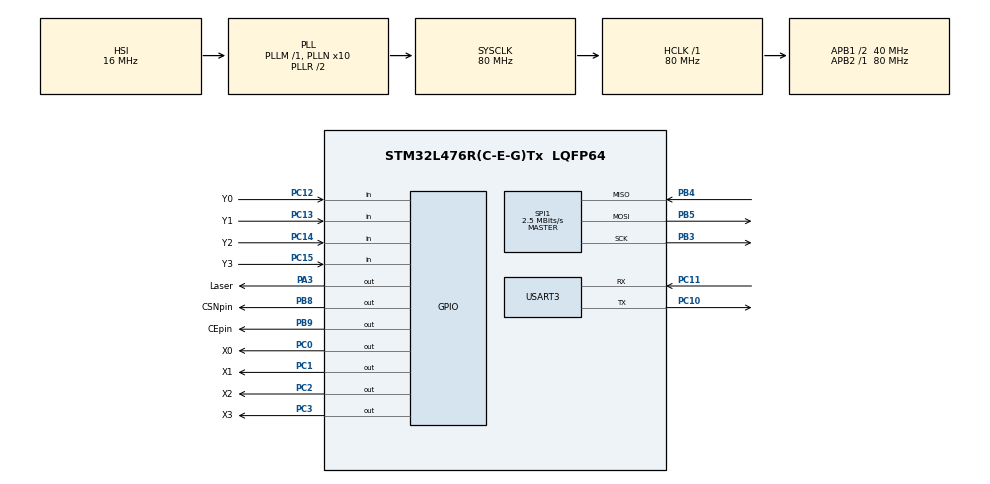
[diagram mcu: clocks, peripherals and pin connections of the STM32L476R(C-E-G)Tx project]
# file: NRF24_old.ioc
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Mcu.Family=STM32L4
Mcu.Name=STM32L476R(C-E-G)Tx
Mcu.Package=LQFP64
NVIC.PriorityGroup=NVIC_PRIORITYGROUP_4
PA3.GPIO_Label=Laser
PA3.Signal=GPIO_Output
PB3\ (JTDO-TRACESWO).Mode=Full_Duplex_Master
PB3\ (JTDO-TRACESWO).Signal=SPI1_SCK
PB4\ (NJTRST).Mode=Full_Duplex_Master
PB4\ (NJTRST).Signal=SPI1_MISO
PB5.Mode=Full_Duplex_Master
PB5.Signal=SPI1_MOSI
PB8.GPIO_Label=CSNpin
PB8.Signal=GPIO_Output
PB9.GPIO_Label=CEpin
PB9.Signal=GPIO_Output
PC0.GPIO_Label=X0
PC0.Signal=GPIO_Output
PC1.GPIO_Label=X1
PC1.Signal=GPIO_Output
PC10.Mode=Asynchronous
PC10.Signal=USART3_TX
PC11.Mode=Asynchronous
PC11.Signal=USART3_RX
PC12.GPIO_Label=Y0
PC12.Signal=GPIO_Input
PC13.GPIO_Label=Y1
PC13.Signal=GPIO_Input
PC14-OSC32_IN\ (PC14).GPIO_Label=Y2
PC14-OSC32_IN\ (PC14).Signal=GPIO_Input
PC15-OSC32_OUT\ (PC15).GPIO_Label=Y3
PC15-OSC32_OUT\ (PC15).Signal=GPIO_Input
PC2.GPIO_Label=X2
PC2.Signal=GPIO_Output
PC3.GPIO_Label=X3
PC3.Signal=GPIO_Output
ProjectManager.HeapSize=0x200
ProjectManager.StackSize=0x400
ProjectManager.TargetToolchain=SW4STM32
RCC.ADCFreq_Value=64000000
RCC.AHBFreq_Value=80000000
RCC.APB1CLKDivider=RCC_HCLK_DIV2
RCC.APB1Freq_Value=40000000
RCC.APB1TimFreq_Value=80000000
RCC.APB2Freq_Value=80000000
RCC.APB2TimFreq_Value=80000000
RCC.CortexFreq_Value=80000000
RCC.HCLKFreq_Value=80000000
RCC.HSE_VALUE=8000000
RCC.HSI_VALUE=16000000
RCC.LSE_VALUE=32768
RCC.MSI_VALUE=4000000
RCC.PLLN=10
RCC.PLLSourceVirtual=RCC_PLLSOURCE_HSI
RCC.SYSCLKFreq_VALUE=80000000
RCC.SYSCLKSource=RCC_SYSCLKSOURCE_PLLCLK
RCC.USBFreq_Value=64000000
RCC.VCOOutputFreq_Value=160000000
SPI1.BaudRatePrescaler=SPI_BAUDRATEPRESCALER_32
SPI1.CalculateBaudRate=2.5 MBits/s
SPI1.DataSize=SPI_DATASIZE_8BIT
SPI1.Direction=SPI_DIRECTION_2LINES
SPI1.Mode=SPI_MODE_MASTER
SPI1.VirtualType=VM_MASTER
USART3.VirtualMode-Asynchronous=VM_ASYNC
board=custom

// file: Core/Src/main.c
/* USER CODE BEGIN Header */
/**
  ******************************************************************************
  * @file           : main.c
  * @brief          : Main program body
  ******************************************************************************
  * @attention
  *
  * <h2><center>&copy; Copyright (c) 2021 STMicroelectronics.
  * All rights reserved.</center></h2>
  *
  * This software component is licensed by ST under BSD 3-Clause license,
  * the "License"; You may not use this file except in compliance with the
  * License. You may obtain a copy of the License at:
  *                        opensource.org/licenses/BSD-3-Clause
  *
  ******************************************************************************
  */
/* USER CODE END Header */
#include "main.h"

/* USER CODE BEGIN Includes */
#include "MY_NRF24.h"
/* USER CODE END Includes */

SPI_HandleTypeDef hspi1;

UART_HandleTypeDef huart3;

void SystemClock_Config(void);
static void MX_GPIO_Init(void);
static void MX_SPI1_Init(void);
static void MX_USART3_UART_Init(void);

/* USER CODE BEGIN 0 */
uint8_t TxpipeAddrs[6] = {0x2f,0xa6,0x37,0x89,0x73};
char myTxData[32] = "Hello World!";
char AckPayload[32];
/* USER CODE END 0 */

int main(void)
{

  /* MCU Configuration--------------------------------------------------------*/

  /* Reset of all peripherals, Initializes the Flash interface and the Systick. */
  HAL_Init();

  /* Configure the system clock */
  SystemClock_Config();

  /* Initialize all configured peripherals */
  MX_GPIO_Init();
  MX_SPI1_Init();
  MX_USART3_UART_Init();
  /* USER CODE BEGIN 2 */
  nrf24_DebugUART_Init(huart3);
  NRF24_begin(GPIOB, CSNpin_Pin, GPIO_PIN_9, hspi1);
  NRF24_powerUp();

  // printRadioSettings();

  //**** TRANSMIT - ACK ****//
  NRF24_stopListening();
  NRF24_openWritingPipe(TxpipeAddrs);
  NRF24_setAutoAck(true);
  NRF24_setChannel(82);
  NRF24_setPayloadSize(32);
  NRF24_setPALevel(RF24_PA_0dB);
  NRF24_setDataRate(RF24_2MBPS);
  NRF24_setRetries(0x3, 3);
  NRF24_setCRCLength(RF24_CRC_8);

  NRF24_enableDynamicPayloads();
 // NRF24_enableAckPayload();
  printRadioSettings();
  /* USER CODE END 2 */

  /* Infinite loop */
  while (1)
  {

    /* USER CODE BEGIN 3 */
	  if(NRF24_write(myTxData, 32))
		{
			//NRF24_read(AckPayload, 32);
			HAL_UART_Transmit(&huart3, (uint8_t *)"Transmitted Successfully\r\n", strlen("Transmitted Successfully\r\n"), 10);

		//	char myDataack[80];
			//sprintf(myDataack, "AckPayload:  %s \r\n", AckPayload);
		//	HAL_UART_Transmit(&huart3, (uint8_t *)myDataack, strlen(myDataack), 10);
		}

		HAL_Delay(1000);
  }
  /* USER CODE END 3 */
}

void SystemClock_Config(void)
{
  RCC_OscInitTypeDef RCC_OscInitStruct = {0};
  RCC_ClkInitTypeDef RCC_ClkInitStruct = {0};
  RCC_PeriphCLKInitTypeDef PeriphClkInit = {0};

  /** Initializes the RCC Oscillators according to the specified parameters
  * in the RCC_OscInitTypeDef structure.
  */
  RCC_OscInitStruct.OscillatorType = RCC_OSCILLATORTYPE_HSI;
  RCC_OscInitStruct.HSIState = RCC_HSI_ON;
  RCC_OscInitStruct.HSICalibrationValue = RCC_HSICALIBRATION_DEFAULT;
  RCC_OscInitStruct.PLL.PLLState = RCC_PLL_ON;
  RCC_OscInitStruct.PLL.PLLSource = RCC_PLLSOURCE_HSI;
  RCC_OscInitStruct.PLL.PLLM = 1;
  RCC_OscInitStruct.PLL.PLLN = 10;
  RCC_OscInitStruct.PLL.PLLP = RCC_PLLP_DIV7;
  RCC_OscInitStruct.PLL.PLLQ = RCC_PLLQ_DIV2;
  RCC_OscInitStruct.PLL.PLLR = RCC_PLLR_DIV2;
  if (HAL_RCC_OscConfig(&RCC_OscInitStruct) != HAL_OK)
  {
    Error_Handler();
  }
  /** Initializes the CPU, AHB and APB buses clocks
  */
  RCC_ClkInitStruct.ClockType = RCC_CLOCKTYPE_HCLK|RCC_CLOCKTYPE_SYSCLK
                              |RCC_CLOCKTYPE_PCLK1|RCC_CLOCKTYPE_PCLK2;
  RCC_ClkInitStruct.SYSCLKSource = RCC_SYSCLKSOURCE_PLLCLK;
  RCC_ClkInitStruct.AHBCLKDivider = RCC_SYSCLK_DIV1;
  RCC_ClkInitStruct.APB1CLKDivider = RCC_HCLK_DIV2;
  RCC_ClkInitStruct.APB2CLKDivider = RCC_HCLK_DIV1;

  if (HAL_RCC_ClockConfig(&RCC_ClkInitStruct, FLASH_LATENCY_4) != HAL_OK)
  {
    Error_Handler();
  }
  PeriphClkInit.PeriphClockSelection = RCC_PERIPHCLK_USART3;
  PeriphClkInit.Usart3ClockSelection = RCC_USART3CLKSOURCE_PCLK1;
  if (HAL_RCCEx_PeriphCLKConfig(&PeriphClkInit) != HAL_OK)
  {
    Error_Handler();
  }
  /** Configure the main internal regulator output voltage
  */
  if (HAL_PWREx_ControlVoltageScaling(PWR_REGULATOR_VOLTAGE_SCALE1) != HAL_OK)
  {
    Error_Handler();
  }
}

static void MX_SPI1_Init(void)
{

  /* SPI1 parameter configuration*/
  hspi1.Instance = SPI1;
  hspi1.Init.Mode = SPI_MODE_MASTER;
  hspi1.Init.Direction = SPI_DIRECTION_2LINES;
  hspi1.Init.DataSize = SPI_DATASIZE_8BIT;
  hspi1.Init.CLKPolarity = SPI_POLARITY_LOW;
  hspi1.Init.CLKPhase = SPI_PHASE_1EDGE;
  hspi1.Init.NSS = SPI_NSS_SOFT;
  hspi1.Init.BaudRatePrescaler = SPI_BAUDRATEPRESCALER_32;
  hspi1.Init.FirstBit = SPI_FIRSTBIT_MSB;
  hspi1.Init.TIMode = SPI_TIMODE_DISABLE;
  hspi1.Init.CRCCalculation = SPI_CRCCALCULATION_DISABLE;
  hspi1.Init.CRCPolynomial = 7;
  hspi1.Init.CRCLength = SPI_CRC_LENGTH_DATASIZE;
  hspi1.Init.NSSPMode = SPI_NSS_PULSE_ENABLE;
  if (HAL_SPI_Init(&hspi1) != HAL_OK)
  {
    Error_Handler();
  }

}

static void MX_USART3_UART_Init(void)
{

  huart3.Instance = USART3;
  huart3.Init.BaudRate = 115200;
  huart3.Init.WordLength = UART_WORDLENGTH_8B;
  huart3.Init.StopBits = UART_STOPBITS_1;
  huart3.Init.Parity = UART_PARITY_NONE;
  huart3.Init.Mode = UART_MODE_TX_RX;
  huart3.Init.HwFlowCtl = UART_HWCONTROL_NONE;
  huart3.Init.OverSampling = UART_OVERSAMPLING_16;
  huart3.Init.OneBitSampling = UART_ONE_BIT_SAMPLE_DISABLE;
  huart3.AdvancedInit.AdvFeatureInit = UART_ADVFEATURE_NO_INIT;
  if (HAL_UART_Init(&huart3) != HAL_OK)
  {
    Error_Handler();
  }

}

static void MX_GPIO_Init(void)
{
  GPIO_InitTypeDef GPIO_InitStruct = {0};

  /* GPIO Ports Clock Enable */
  __HAL_RCC_GPIOC_CLK_ENABLE();
  __HAL_RCC_GPIOA_CLK_ENABLE();
  __HAL_RCC_GPIOB_CLK_ENABLE();

  /*Configure GPIO pin Output Level */
  HAL_GPIO_WritePin(GPIOC, X0_Pin|X1_Pin|X2_Pin|X3_Pin, GPIO_PIN_RESET);

  /*Configure GPIO pin Output Level */
  HAL_GPIO_WritePin(Laser_GPIO_Port, Laser_Pin, GPIO_PIN_RESET);

  /*Configure GPIO pin Output Level */
  HAL_GPIO_WritePin(GPIOB, CSNpin_Pin|CEpin_Pin, GPIO_PIN_RESET);

  /*Configure GPIO pins : Y1_Pin Y2_Pin Y3_Pin Y0_Pin */
  GPIO_InitStruct.Pin = Y1_Pin|Y2_Pin|Y3_Pin|Y0_Pin;
  GPIO_InitStruct.Mode = GPIO_MODE_INPUT;
  GPIO_InitStruct.Pull = GPIO_NOPULL;
  HAL_GPIO_Init(GPIOC, &GPIO_InitStruct);

  /*Configure GPIO pins : X0_Pin X1_Pin X2_Pin X3_Pin */
  GPIO_InitStruct.Pin = X0_Pin|X1_Pin|X2_Pin|X3_Pin;
  GPIO_InitStruct.Mode = GPIO_MODE_OUTPUT_PP;
  GPIO_InitStruct.Pull = GPIO_NOPULL;
  GPIO_InitStruct.Speed = GPIO_SPEED_FREQ_LOW;
  HAL_GPIO_Init(GPIOC, &GPIO_InitStruct);

  /*Configure GPIO pin : Laser_Pin */
  GPIO_InitStruct.Pin = Laser_Pin;
  GPIO_InitStruct.Mode = GPIO_MODE_OUTPUT_PP;
  GPIO_InitStruct.Pull = GPIO_NOPULL;
  GPIO_InitStruct.Speed = GPIO_SPEED_FREQ_LOW;
  HAL_GPIO_Init(Laser_GPIO_Port, &GPIO_InitStruct);

  /*Configure GPIO pins : CSNpin_Pin CEpin_Pin */
  GPIO_InitStruct.Pin = CSNpin_Pin|CEpin_Pin;
  GPIO_InitStruct.Mode = GPIO_MODE_OUTPUT_PP;
  GPIO_InitStruct.Pull = GPIO_NOPULL;
  GPIO_InitStruct.Speed = GPIO_SPEED_FREQ_LOW;
  HAL_GPIO_Init(GPIOB, &GPIO_InitStruct);

}

void Error_Handler(void)
{
  __disable_irq();
  while (1)
  {
  }
}

/************************ (C) COPYRIGHT STMicroelectronics *****END OF FILE****/
